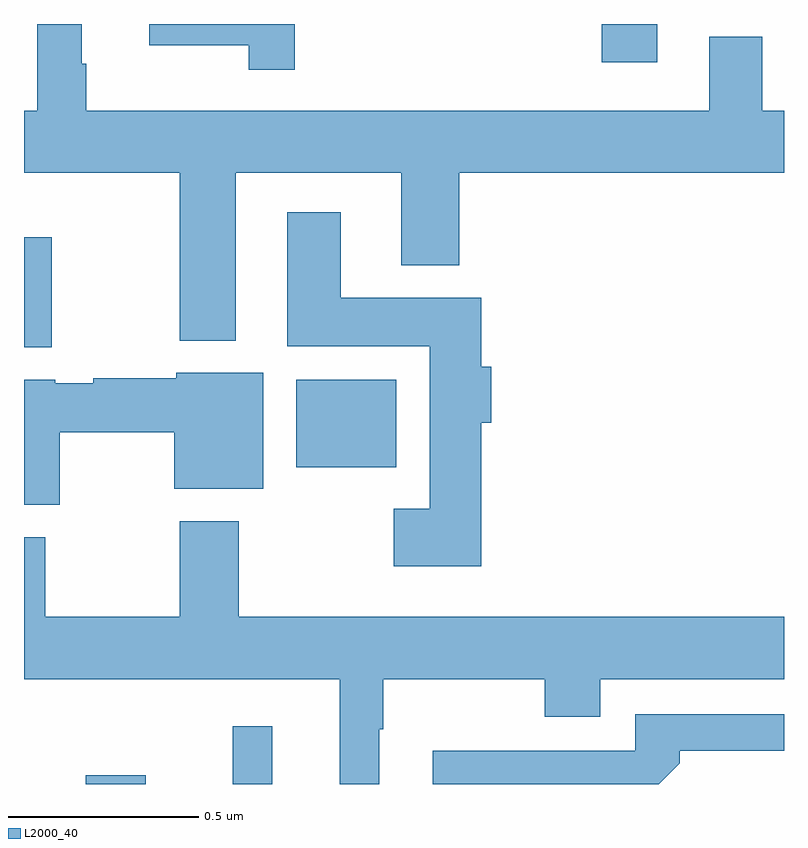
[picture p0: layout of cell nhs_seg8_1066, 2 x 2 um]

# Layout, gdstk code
import gdstk
lib = gdstk.Library(unit=1e-6, precision=1e-09)
def R(c, l, rs):  # rectangles x0, y0, x1, y1
    for r in rs: c.add(gdstk.rectangle(r[:2], r[2:], *l))
def P(c, l, *ps):  # polygons
    for p in ps: c.add(gdstk.Polygon(p, *l))
L2000_40 = (2000, 40)

nhs_seg8_1066 = lib.new_cell('nhs_seg8_1066')
R(nhs_seg8_1066, L2000_40, [(125.162,1106.9,125.32,1106.923), (125.549,1106.9,125.653,1107.052), (125.717,1107.734,125.98,1107.964), (125,1108.049,125.073,1108.339), (126.52,1108.8,126.667,1108.9)])
P(nhs_seg8_1066, L2000_40, [(125.713,1108.9),(125.33,1108.9),(125.33,1108.844),(125.592,1108.844),(125.592,1108.779),(125.713,1108.779)],
  [(125.557,1108.508),(125.993,1108.508),(125.993,1108.265),(126.146,1108.265),(126.146,1108.508),(127,1108.508),(127,1108.672),(126.943,1108.672),(126.943,1108.867),(126.803,1108.867),(126.803,1108.672),(125.164,1108.672),(125.164,1108.796),(125.152,1108.796),(125.152,1108.9),(125.035,1108.9),(125.035,1108.672),(125,1108.672),(125,1108.508),(125.41,1108.508),(125.41,1108.067),(125.557,1108.067)],
  [(126.203,1107.851),(126.229,1107.851),(126.229,1107.998),(126.203,1107.998),(126.203,1108.18),(125.833,1108.18),(125.833,1108.405),(125.693,1108.405),(125.693,1108.052),(126.068,1108.052),(126.068,1107.625),(125.973,1107.625),(125.973,1107.473),(126.203,1107.473)],
  [(125.094,1107.826),(125.396,1107.826),(125.396,1107.677),(125.629,1107.677),(125.629,1107.982),(125.4,1107.982),(125.4,1107.968),(125.182,1107.968),(125.182,1107.955),(125.082,1107.955),(125.082,1107.964),(125,1107.964),(125,1107.635),(125.094,1107.635)],
  [(125.935,1107.044),(125.945,1107.044),(125.945,1107.176),(126.37,1107.176),(126.37,1107.077),(126.517,1107.077),(126.517,1107.176),(127,1107.176),(127,1107.34),(125.565,1107.34),(125.565,1107.592),(125.41,1107.592),(125.41,1107.34),(125.056,1107.34),(125.056,1107.55),(125,1107.55),(125,1107.176),(125.831,1107.176),(125.831,1106.9),(125.935,1106.9)],
  [(126.725,1106.954),(126.725,1106.988),(127,1106.988),(127,1107.084),(126.609,1107.084),(126.609,1106.988),(126.075,1106.988),(126.075,1106.9),(126.671,1106.9)])

lib.write_gds('nhs_seg8_1066.gds')
